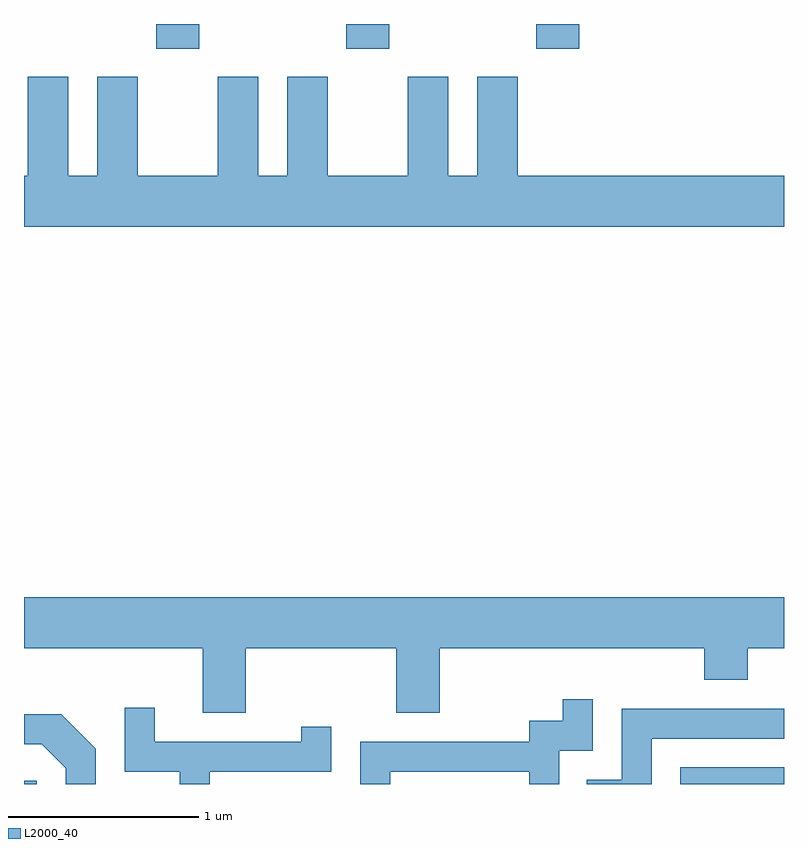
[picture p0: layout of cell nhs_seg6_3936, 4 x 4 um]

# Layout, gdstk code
import gdstk
lib = gdstk.Library(unit=1e-6, precision=1e-09)
def R(c, l, rs):  # rectangles x0, y0, x1, y1
    for r in rs: c.add(gdstk.rectangle(r[:2], r[2:], *l))
def A(c, l, x, y, w, h, nx, ny, dx, dy):  # array of equal rectangles
    R(c, l, [(x+i*dx, y+j*dy, x+i*dx+w, y+j*dy+h) for i in range(nx) for j in range(ny)])
def P(c, l, *ps):  # polygons
    for p in ps: c.add(gdstk.Polygon(p, *l))
L2000_40 = (2000, 40)

nhs_seg6_3936 = lib.new_cell('nhs_seg6_3936')
A(nhs_seg6_3936, L2000_40, 304.306, 1602.031, 0.228, 0.131, 3, 1, 1, 0)
R(nhs_seg6_3936, L2000_40, [(303.611,1598.162,303.679,1598.179), (307.066,1598.162,307.611,1598.249)])
P(nhs_seg6_3936, L2000_40, [(307.611,1601.364),(306.209,1601.364),(306.209,1601.884),(305.996,1601.884),(305.996,1601.364),(305.844,1601.364),(305.844,1601.884),(305.631,1601.884),(305.631,1601.364),(305.209,1601.364),(305.209,1601.884),(304.996,1601.884),(304.996,1601.364),(304.844,1601.364),(304.844,1601.884),(304.631,1601.884),(304.631,1601.364),(304.209,1601.364),(304.209,1601.884),(303.996,1601.884),(303.996,1601.364),(303.844,1601.364),(303.844,1601.884),(303.631,1601.884),(303.631,1601.364),(303.611,1601.364),(303.611,1601.096),(307.611,1601.096)],
  [(304.779,1598.876),(305.571,1598.876),(305.571,1598.536),(305.799,1598.536),(305.799,1598.876),(307.191,1598.876),(307.191,1598.711),(307.419,1598.711),(307.419,1598.876),(307.611,1598.876),(307.611,1599.144),(303.611,1599.144),(303.611,1598.876),(304.551,1598.876),(304.551,1598.536),(304.779,1598.536)],
  [(305.539,1598.226),(306.271,1598.226),(306.271,1598.162),(306.429,1598.162),(306.429,1598.336),(306.604,1598.336),(306.604,1598.608),(306.446,1598.608),(306.446,1598.494),(306.271,1598.494),(306.271,1598.384),(305.381,1598.384),(305.381,1598.162),(305.539,1598.162)],
  [(304.589,1598.226),(305.229,1598.226),(305.229,1598.463),(305.071,1598.463),(305.071,1598.384),(304.299,1598.384),(304.299,1598.563),(304.141,1598.563),(304.141,1598.226),(304.431,1598.226),(304.431,1598.162),(304.589,1598.162)],
  [(306.914,1598.401),(307.611,1598.401),(307.611,1598.559),(306.756,1598.559),(306.756,1598.184),(306.573,1598.184),(306.573,1598.162),(306.914,1598.162)],
  [(303.989,1598.347),(303.807,1598.529),(303.611,1598.529),(303.611,1598.371),(303.704,1598.371),(303.831,1598.244),(303.831,1598.162),(303.989,1598.162)])

lib.write_gds('nhs_seg6_3936.gds')
